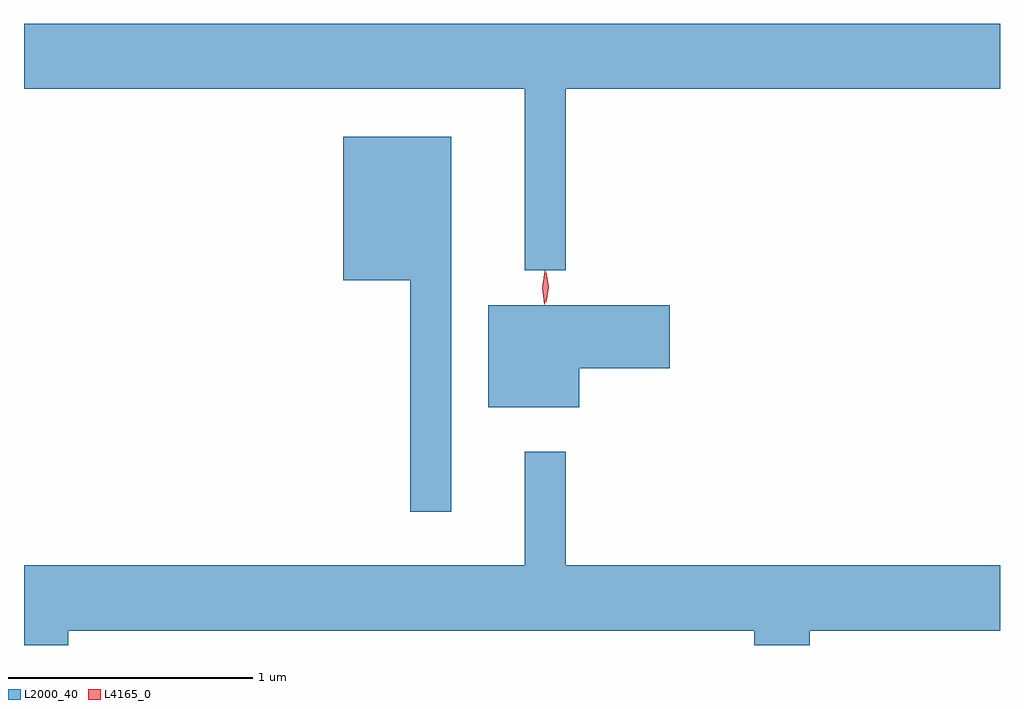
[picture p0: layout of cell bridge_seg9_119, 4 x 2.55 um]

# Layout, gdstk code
import gdstk
lib = gdstk.Library(unit=1e-6, precision=1e-09)
def P(c, l, *ps):  # polygons
    for p in ps: c.add(gdstk.Polygon(p, *l))
L2000_40 = (2000, 40)
L4165_0 = (4165, 0)

bridge_seg9_119 = lib.new_cell('bridge_seg9_119')
P(bridge_seg9_119, L2000_40, [(1337.649,2025.116),(1339.428,2025.116),(1339.428,2025.384),(1335.428,2025.384),(1335.428,2025.116),(1337.481,2025.116),(1337.481,2024.373),(1337.649,2024.373)],
  [(1337.179,2024.919),(1336.736,2024.919),(1336.736,2024.331),(1337.011,2024.331),(1337.011,2023.383),(1337.179,2023.383)],
  [(1337.704,2023.971),(1338.074,2023.971),(1338.074,2024.229),(1337.331,2024.229),(1337.331,2023.811),(1337.704,2023.811)],
  [(1335.609,2022.896),(1338.421,2022.896),(1338.421,2022.835),(1338.649,2022.835),(1338.649,2022.896),(1339.428,2022.896),(1339.428,2023.164),(1337.649,2023.164),(1337.649,2023.628),(1337.481,2023.628),(1337.481,2023.164),(1335.428,2023.164),(1335.428,2022.835),(1335.609,2022.835)])
P(bridge_seg9_119, L4165_0, [(1337.561,2024.234),(1337.552,2024.302),(1337.563,2024.37),(1337.563,2024.37),(1337.564,2024.37),(1337.572,2024.302),(1337.562,2024.234),(1337.562,2024.234)],
  [(1337.568,2024.24),(1337.568,2024.24),(1337.558,2024.303),(1337.568,2024.366),(1337.568,2024.367),(1337.568,2024.366),(1337.578,2024.303),(1337.568,2024.24)])

lib.write_gds('bridge_seg9_119.gds')
